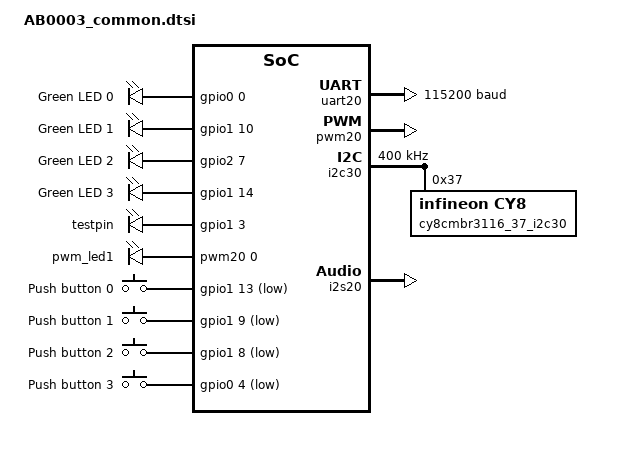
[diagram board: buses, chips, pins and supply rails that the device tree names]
/*
 * Copyright (c) 2024 Nordic Semiconductor ASA
 *
 * SPDX-License-Identifier: Apache-2.0
 */

#include "AB0003_nrf54l_05_10_15-pinctrl.dtsi"

/ {	leds {
		compatible = "gpio-leds";
		led0: led_0 {
			gpios = <&gpio0 0 GPIO_ACTIVE_HIGH>;
			label = "Green LED 0";
		};
		led1: led_1 {
			gpios = <&gpio1 10 GPIO_ACTIVE_HIGH>;
			label = "Green LED 1";
		};
		led2: led_2 {
			gpios = <&gpio2 7 GPIO_ACTIVE_HIGH>;
			label = "Green LED 2";
		};
		led3: led_3 {
			gpios = <&gpio1 14 GPIO_ACTIVE_HIGH>;
			label = "Green LED 3";
		};
	};

	testpins {
		compatible = "gpio-leds";
		tp0: tp_0 {
			gpios = <&gpio1 3 GPIO_ACTIVE_HIGH>;
			label = "testpin";
		};
		
	};

	pwmleds {
		compatible = "pwm-leds";
		/*
		 * PWM signal can be exposed on GPIO pin only within same domain.
		 * There is only one domain which contains both PWM and GPIO:
		 * PWM20/21/22 and GPIO Port P1.
		 * Only LEDs connected to P1 can work with PWM, for example LED1.
		 */
		pwm_led1: pwm_led_1 {
			pwms = <&pwm20 0 PWM_MSEC(20) PWM_POLARITY_NORMAL>;
		};
	};

	buttons {
		compatible = "gpio-keys";
		button0: button_0 {
			gpios = <&gpio1 13 (GPIO_PULL_UP | GPIO_ACTIVE_LOW)>;
			label = "Push button 0";
			zephyr,code = <INPUT_KEY_0>;
		};
		button1: button_1 {
			gpios = <&gpio1 9 (GPIO_PULL_UP | GPIO_ACTIVE_LOW)>;
			label = "Push button 1";
			zephyr,code = <INPUT_KEY_1>;
		};
		button2: button_2 {
			gpios = <&gpio1 8 (GPIO_PULL_UP | GPIO_ACTIVE_LOW)>;
			label = "Push button 2";
			zephyr,code = <INPUT_KEY_2>;
		};
		button3: button_3 {
			gpios = <&gpio0 4 (GPIO_PULL_UP | GPIO_ACTIVE_LOW)>;
			label = "Push button 3";
			zephyr,code = <INPUT_KEY_3>;
		};
	};

	aliases {
		led0 = &led0;
		led1 = &led1;
		led2 = &led2;
		led3 = &led3;
		pwm-led0 = &pwm_led1;
		sw0 = &button0;
		sw1 = &button1;
		sw2 = &button2;
		sw3 = &button3;
		watchdog0 = &wdt31;
		i2s-tx = &i2s20;	
		tp0 = &tp0;	
	};
};

&uart20 {
	current-speed = <115200>;
	pinctrl-0 = <&uart20_default>;
	pinctrl-1 = <&uart20_sleep>;
	pinctrl-names = "default", "sleep";
};

&pwm20 {
	status = "okay";
	pinctrl-0 = <&pwm20_default>;
	pinctrl-1 = <&pwm20_sleep>;
	pinctrl-names = "default", "sleep";
};


&i2c30 {
	compatible = "nordic,nrf-twim";
	status = "okay";
	clock-frequency = <I2C_BITRATE_FAST>;
	pinctrl-0 = <&i2c30_default>;
	pinctrl-1 = <&i2c30_sleep>;
	zephyr,concat-buf-size = <256>;
	//zephyr,flash-buf-max-size = <128>;
	pinctrl-names = "default", "sleep";
	cy8cmbr3116_37_i2c30: cy8cmbr3116@37 {
        compatible = "infineon,cy8"; 					// Specify device bindings/driver
        reg = <0x37>; 										// I2C address
        status = "okay"; 									// Enable the MCP9808 sensor
        
    };
};



&i2s20 {
	status = "okay";
    pinctrl-0 = <&i2s20_default>;
    pinctrl-names = "default";
    compatible = "nordic,nrf-i2s";
    #address-cells = <1>;
    #size-cells = <0>;
    reg = <0xdd000 0x1000>;
    interrupts = <221 NRF_DEFAULT_IRQ_PRIORITY>;
	//clock-source = "PCLK32M";
};

&uicr {
    nfct-pins-as-gpios;
};


